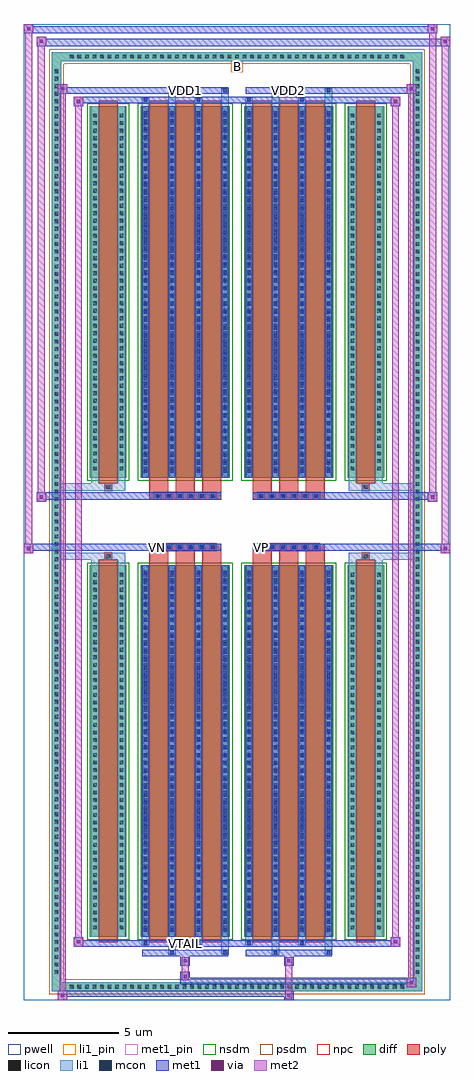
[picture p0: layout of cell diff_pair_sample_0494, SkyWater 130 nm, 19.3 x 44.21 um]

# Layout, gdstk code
import gdstk
lib = gdstk.Library(unit=1e-6, precision=5e-09)
def R(c, l, rs):  # rectangles x0, y0, x1, y1
    for r in rs: c.add(gdstk.rectangle(r[:2], r[2:], *l))
def A(c, l, x, y, w, h, nx, ny, dx, dy):  # array of equal rectangles
    R(c, l, [(x+i*dx, y+j*dy, x+i*dx+w, y+j*dy+h) for i in range(nx) for j in range(ny)])
def P(c, l, *ps):  # polygons
    for p in ps: c.add(gdstk.Polygon(p, *l))
pwell = (64, 44)
diff = (65, 20)
poly = (66, 20)
licon = (66, 44)
li1_pin = (67, 16)
li1 = (67, 20)
mcon = (67, 44)
met1_pin = (68, 16)
met1 = (68, 20)
via = (68, 44)
met2 = (69, 20)
nsdm = (93, 44)
psdm = (94, 20)
npc = (95, 20)

diff_pair_sample_0494 = lib.new_cell('diff_pair_sample_0494')
R(diff_pair_sample_0494, pwell, [(-9.65,-21.67,9.65,22.54), (-6.97,-19.86,-0.01,-0.8), (0.01,-19.86,6.97,-0.8), (-6.97,0.8,-0.01,19.86), (0.01,0.8,6.97,19.86)])
A(diff_pair_sample_0494, diff, -7.685, -21.27, 0.41, 0.41, 45, 2, 0.34, 42.13)
A(diff_pair_sample_0494, diff, -8.38, -20.605, 0.41, 0.41, 1, 121, 0, 0.34)
A(diff_pair_sample_0494, diff, 7.97, -20.605, 0.41, 0.41, 1, 121, 0, 0.34)
R(diff_pair_sample_0494, diff, [(-7.685,-21.27,7.685,-20.86), (-8.38,-20.605,-7.97,20.605), (7.97,-20.605,8.38,20.605), (-6.66,-18.815,-5.01,-1.985), (-4.37,-18.815,-0.32,-1.985), (0.32,-18.815,4.37,-1.985), (5.01,-18.815,6.66,-1.985), (-6.66,1.985,-5.01,18.815), (-4.37,1.985,-0.32,18.815), (0.32,1.985,4.37,18.815), (5.01,1.985,6.66,18.815), (-7.685,20.86,7.685,21.27)])
P(diff_pair_sample_0494, diff, [(8.38,21.27),(-8.38,21.27),(-8.38,-20.86),(-7.97,-20.86),(-7.97,20.86),(7.97,20.86),(7.97,-20.86),(-7.97,-20.86),(-8.38,-20.86),(-8.38,-21.27),(8.38,-21.27)])
A(diff_pair_sample_0494, poly, -3.98, -19.065, 0.87, 17.33, 3, 2, 1.2, 20.8)
A(diff_pair_sample_0494, poly, 0.71, -19.065, 0.87, 17.33, 3, 2, 1.2, 20.8)
A(diff_pair_sample_0494, poly, -3.98, -1.735, 0.87, 0.405, 3, 2, 1.2, 3.065)
A(diff_pair_sample_0494, poly, 0.71, -1.735, 0.87, 0.405, 3, 2, 1.2, 3.065)
A(diff_pair_sample_0494, poly, -3.76, -1.33, 0.33, 0.33, 6, 2, 0.5, 2.33)
A(diff_pair_sample_0494, poly, 0.93, -1.33, 0.33, 0.33, 6, 2, 0.5, 2.33)
R(diff_pair_sample_0494, poly, [(-6.27,-19.065,-5.4,-1.735), (5.4,-19.065,6.27,-1.735), (-6,-1.735,-5.67,-1.405), (-6,-1.735,-5.67,-1.405), (5.67,-1.735,6,-1.405), (5.67,-1.735,6,-1.405), (-3.98,-1.33,-0.71,-1), (0.71,-1.33,3.98,-1), (-3.98,1,-0.71,1.33), (0.71,1,3.98,1.33), (-6,1.405,-5.67,1.735), (-6,1.405,-5.67,1.735), (5.67,1.405,6,1.735), (5.67,1.405,6,1.735), (-6.27,1.735,-5.4,19.065), (5.4,1.735,6.27,19.065)])
A(diff_pair_sample_0494, licon, -7.565, -21.15, 0.17, 0.17, 45, 2, 0.34, 42.13)
A(diff_pair_sample_0494, licon, -8.26, -20.485, 0.17, 0.17, 1, 121, 0, 0.34)
A(diff_pair_sample_0494, licon, 8.09, -20.485, 0.17, 0.17, 1, 121, 0, 0.34)
A(diff_pair_sample_0494, licon, -6.52, -18.475, 0.17, 0.17, 1, 48, 0, 0.34)
A(diff_pair_sample_0494, licon, -5.32, -18.475, 0.17, 0.17, 1, 48, 0, 0.34)
A(diff_pair_sample_0494, licon, -4.23, -18.475, 0.17, 0.17, 4, 48, 1.2, 0.34)
A(diff_pair_sample_0494, licon, 0.46, -18.475, 0.17, 0.17, 4, 48, 1.2, 0.34)
A(diff_pair_sample_0494, licon, 5.15, -18.475, 0.17, 0.17, 1, 48, 0, 0.34)
A(diff_pair_sample_0494, licon, 6.35, -18.475, 0.17, 0.17, 1, 48, 0, 0.34)
A(diff_pair_sample_0494, licon, -3.68, -1.25, 0.17, 0.17, 6, 2, 0.5, 2.33)
A(diff_pair_sample_0494, licon, 1.01, -1.25, 0.17, 0.17, 6, 2, 0.5, 2.33)
A(diff_pair_sample_0494, licon, -6.52, 2.325, 0.17, 0.17, 1, 48, 0, 0.34)
A(diff_pair_sample_0494, licon, -5.32, 2.325, 0.17, 0.17, 1, 48, 0, 0.34)
A(diff_pair_sample_0494, licon, -4.23, 2.325, 0.17, 0.17, 4, 48, 1.2, 0.34)
A(diff_pair_sample_0494, licon, 0.46, 2.325, 0.17, 0.17, 4, 48, 1.2, 0.34)
A(diff_pair_sample_0494, licon, 5.15, 2.325, 0.17, 0.17, 1, 48, 0, 0.34)
A(diff_pair_sample_0494, licon, 6.35, 2.325, 0.17, 0.17, 1, 48, 0, 0.34)
R(diff_pair_sample_0494, licon, [(-5.92,-1.655,-5.75,-1.485), (5.75,-1.655,5.92,-1.485), (-5.92,1.485,-5.75,1.655), (5.75,1.485,5.92,1.655)])
R(diff_pair_sample_0494, li1_pin, [(-0.25,20.36,0.25,20.86)])
A(diff_pair_sample_0494, li1, -7.645, -21.23, 0.33, 0.33, 45, 2, 0.34, 42.13)
A(diff_pair_sample_0494, li1, -8.34, -20.565, 0.33, 0.33, 1, 121, 0, 0.34)
A(diff_pair_sample_0494, li1, 8.01, -20.565, 0.33, 0.33, 1, 121, 0, 0.34)
A(diff_pair_sample_0494, li1, -4.31, -18.815, 0.33, 16.83, 4, 2, 1.2, 20.8)
A(diff_pair_sample_0494, li1, 0.38, -18.815, 0.33, 16.83, 4, 2, 1.2, 20.8)
A(diff_pair_sample_0494, li1, -4.23, -18.585, 0.17, 0.17, 4, 46, 1.2, 0.36)
A(diff_pair_sample_0494, li1, -4.23, -18.585, 0.17, 16.37, 4, 2, 1.2, 20.8)
A(diff_pair_sample_0494, li1, 0.46, -18.585, 0.17, 0.17, 4, 46, 1.2, 0.36)
A(diff_pair_sample_0494, li1, 0.46, -18.585, 0.17, 16.37, 4, 2, 1.2, 20.8)
A(diff_pair_sample_0494, li1, -6.6, -18.555, 0.33, 0.33, 1, 48, 0, 0.34)
A(diff_pair_sample_0494, li1, -5.4, -18.555, 0.33, 0.33, 1, 48, 0, 0.34)
A(diff_pair_sample_0494, li1, -4.31, -18.555, 0.33, 0.33, 4, 48, 1.2, 0.34)
A(diff_pair_sample_0494, li1, 0.38, -18.555, 0.33, 0.33, 4, 48, 1.2, 0.34)
A(diff_pair_sample_0494, li1, 5.07, -18.555, 0.33, 0.33, 1, 48, 0, 0.34)
A(diff_pair_sample_0494, li1, 6.27, -18.555, 0.33, 0.33, 1, 48, 0, 0.34)
A(diff_pair_sample_0494, li1, -3.76, -1.33, 0.33, 0.33, 6, 2, 0.5, 2.33)
A(diff_pair_sample_0494, li1, 0.93, -1.33, 0.33, 0.33, 6, 2, 0.5, 2.33)
A(diff_pair_sample_0494, li1, -4.23, 2.215, 0.17, 0.17, 4, 46, 1.2, 0.36)
A(diff_pair_sample_0494, li1, 0.46, 2.215, 0.17, 0.17, 4, 46, 1.2, 0.36)
A(diff_pair_sample_0494, li1, -6.6, 2.245, 0.33, 0.33, 1, 48, 0, 0.34)
A(diff_pair_sample_0494, li1, -5.4, 2.245, 0.33, 0.33, 1, 48, 0, 0.34)
A(diff_pair_sample_0494, li1, -4.31, 2.245, 0.33, 0.33, 4, 48, 1.2, 0.34)
A(diff_pair_sample_0494, li1, 0.38, 2.245, 0.33, 0.33, 4, 48, 1.2, 0.34)
A(diff_pair_sample_0494, li1, 5.07, 2.245, 0.33, 0.33, 1, 48, 0, 0.34)
A(diff_pair_sample_0494, li1, 6.27, 2.245, 0.33, 0.33, 1, 48, 0, 0.34)
R(diff_pair_sample_0494, li1, [(-8.38,-21.27,-7.97,-20.86), (-8.38,-21.27,-7.97,-20.86), (-7.97,-21.27,7.97,-20.86), (7.97,-21.27,8.38,-20.86), (7.97,-21.27,8.38,-20.86), (-8.38,-20.86,-7.97,20.86), (7.97,-20.86,8.38,20.86), (-3.11,-19.62,-2.78,-18.815), (-3.03,-19.62,-2.86,-19.45), (-0.71,-19.62,-0.38,-18.815), (-0.63,-19.62,-0.46,-19.45), (1.58,-19.62,1.91,-18.815), (1.66,-19.62,1.83,-19.45), (3.98,-19.62,4.31,-18.815), (4.06,-19.62,4.23,-19.45), (-4.31,-19.19,-3.98,-18.815), (-4.23,-19.19,-4.06,-19.02), (-1.91,-19.19,-1.58,-18.815), (-1.83,-19.19,-1.66,-19.02), (0.38,-19.19,0.71,-18.815), (0.46,-19.19,0.63,-19.02), (2.78,-19.19,3.11,-18.815), (2.86,-19.19,3.03,-19.02), (-6.6,-18.815,-6.27,-1.985), (-5.4,-18.815,-5.07,-1.985), (5.07,-18.815,5.4,-1.985), (6.27,-18.815,6.6,-1.985), (-6.6,-1.985,-6.27,-1.405), (-5.4,-1.985,-5.07,-1.405), (5.07,-1.985,5.4,-1.405), (6.27,-1.985,6.6,-1.405), (-8.38,-1.735,-6,-1.405), (-6.6,-1.735,-6,-1.405), (-6,-1.735,-5.67,-1.405), (-5.67,-1.735,-5.07,-1.405), (5.07,-1.735,5.67,-1.405), (5.67,-1.735,6,-1.405), (5.67,-1.735,8.38,-1.405), (6,-1.735,6.6,-1.405), (-8.38,1.405,-6,1.735), (-6.6,1.405,-6,1.735), (-6.6,1.405,-6.27,1.985), (-6,1.405,-5.67,1.735), (-5.67,1.405,-5.07,1.735), (-5.4,1.405,-5.07,1.985), (5.07,1.405,5.67,1.735), (5.07,1.405,5.4,1.985), (5.67,1.405,6,1.735), (5.67,1.405,8.38,1.735), (6,1.405,6.6,1.735), (6.27,1.405,6.6,1.985), (-6.6,1.985,-6.27,18.815), (-5.4,1.985,-5.07,18.815), (5.07,1.985,5.4,18.815), (6.27,1.985,6.6,18.815), (-4.31,18.815,-3.98,19.19), (-3.11,18.815,-2.78,19.62), (-1.91,18.815,-1.58,19.19), (-0.71,18.815,-0.38,19.62), (0.38,18.815,0.71,19.19), (1.58,18.815,1.91,19.62), (2.78,18.815,3.11,19.19), (3.98,18.815,4.31,19.62), (-4.23,19.02,-4.06,19.19), (-1.83,19.02,-1.66,19.19), (0.46,19.02,0.63,19.19), (2.86,19.02,3.03,19.19), (-3.03,19.45,-2.86,19.62), (-0.63,19.45,-0.46,19.62), (1.66,19.45,1.83,19.62), (4.06,19.45,4.23,19.62), (-8.38,20.86,-7.97,21.27), (-8.38,20.86,-7.97,21.27), (-7.97,20.86,7.97,21.27), (7.97,20.86,8.38,21.27), (7.97,20.86,8.38,21.27)])
A(diff_pair_sample_0494, mcon, -4.23, -18.585, 0.17, 0.17, 4, 46, 1.2, 0.36)
A(diff_pair_sample_0494, mcon, 0.46, -18.585, 0.17, 0.17, 4, 46, 1.2, 0.36)
A(diff_pair_sample_0494, mcon, -3.68, -1.25, 0.17, 0.17, 6, 2, 0.5, 2.33)
A(diff_pair_sample_0494, mcon, 1.01, -1.25, 0.17, 0.17, 6, 2, 0.5, 2.33)
A(diff_pair_sample_0494, mcon, -4.23, 2.215, 0.17, 0.17, 4, 46, 1.2, 0.36)
A(diff_pair_sample_0494, mcon, 0.46, 2.215, 0.17, 0.17, 4, 46, 1.2, 0.36)
R(diff_pair_sample_0494, mcon, [(-3.03,-19.62,-2.86,-19.45), (-0.63,-19.62,-0.46,-19.45), (1.66,-19.62,1.83,-19.45), (4.06,-19.62,4.23,-19.45), (-4.23,-19.19,-4.06,-19.02), (-1.83,-19.19,-1.66,-19.02), (0.46,-19.19,0.63,-19.02), (2.86,-19.19,3.03,-19.02), (-4.23,19.02,-4.06,19.19), (-1.83,19.02,-1.66,19.19), (0.46,19.02,0.63,19.19), (2.86,19.02,3.03,19.19), (-3.03,19.45,-2.86,19.62), (-0.63,19.45,-0.46,19.62), (1.66,19.45,1.83,19.62), (4.06,19.45,4.23,19.62)])
R(diff_pair_sample_0494, met1_pin, [(-2.48,-19.23,-2.21,-18.96), (-3.73,-1.29,-3.46,-1.02), (0.96,-1.29,1.23,-1.02), (-2.48,19.41,-2.21,19.68), (2.21,19.41,2.48,19.68)])
A(diff_pair_sample_0494, met1, -4.29, -18.815, 0.29, 16.83, 4, 2, 1.2, 20.8)
A(diff_pair_sample_0494, met1, 0.4, -18.815, 0.29, 16.83, 4, 2, 1.2, 20.8)
A(diff_pair_sample_0494, met1, -4.29, -18.645, 0.29, 0.29, 4, 46, 1.2, 0.36)
A(diff_pair_sample_0494, met1, 0.4, -18.645, 0.29, 0.29, 4, 46, 1.2, 0.36)
A(diff_pair_sample_0494, met1, -3.74, -1.31, 0.29, 0.29, 6, 2, 0.5, 2.33)
A(diff_pair_sample_0494, met1, 0.95, -1.31, 0.29, 0.29, 6, 2, 0.5, 2.33)
A(diff_pair_sample_0494, met1, -4.29, 2.155, 0.29, 0.29, 4, 46, 1.2, 0.36)
A(diff_pair_sample_0494, met1, 0.4, 2.155, 0.29, 0.29, 4, 46, 1.2, 0.36)
R(diff_pair_sample_0494, met1, [(-8.11,-21.67,-7.68,-21.24), (2.13,-21.67,2.56,-21.24), (-8.11,-21.53,2.56,-21.24), (7.68,-21.1,8.11,-20.67), (-2.56,-20.96,8.11,-20.67), (-2.56,-20.82,-2.13,-20.39), (-2.56,-20.11,-2.13,-19.68), (2.13,-20.11,2.56,-19.68), (-4.29,-19.68,-0.4,-19.39), (-3.09,-19.68,-2.8,-19.39), (-0.69,-19.68,-0.4,-19.39), (0.4,-19.68,4.29,-19.39), (1.6,-19.68,1.89,-19.39), (4,-19.68,4.29,-19.39), (-7.4,-19.25,-6.97,-18.82), (-7.4,-19.25,-4.29,-18.96), (-4.29,-19.25,-4,-18.96), (-4.29,-19.25,-0.4,-18.96), (-1.89,-19.25,-1.6,-18.96), (-0.4,-19.25,0.4,-18.96), (0.4,-19.25,0.69,-18.96), (0.4,-19.25,4.29,-18.96), (2.8,-19.25,3.09,-18.96), (4.29,-19.25,7.4,-18.96), (6.97,-19.25,7.4,-18.82), (-9.65,-1.43,-9.22,-1), (9.22,-1.43,9.65,-1), (-9.65,-1.33,-0.71,-1), (-3.98,-1.33,-0.71,-1), (0.71,-1.33,3.98,-1), (0.71,-1.33,9.65,-1), (-9.08,0.9,-8.65,1.33), (8.65,0.9,9.08,1.33), (-9.08,1,-3.98,1.33), (-3.98,1,-0.71,1.33), (0.71,1,3.98,1.33), (3.98,1,9.08,1.33), (-7.4,18.82,-6.97,19.25), (6.97,18.82,7.4,19.25), (-7.4,18.96,-4.29,19.25), (-4.29,18.96,-4,19.25), (-4.29,18.96,-0.4,19.25), (-1.89,18.96,-1.6,19.25), (-0.4,18.96,0.4,19.25), (0.4,18.96,0.69,19.25), (0.4,18.96,4.29,19.25), (2.8,18.96,3.09,19.25), (4.29,18.96,7.4,19.25), (-8.11,19.39,-7.68,19.82), (-8.11,19.39,-4.29,19.68), (-4.29,19.39,-0.4,19.68), (-3.09,19.39,-2.8,19.68), (-0.69,19.39,-0.4,19.68), (0.4,19.39,4.29,19.68), (1.6,19.39,1.89,19.68), (4,19.39,4.29,19.68), (4.29,19.39,8.11,19.68), (7.68,19.39,8.11,19.82), (-9.08,21.54,-8.65,21.97), (-9.08,21.54,-6.97,21.87), (-6.97,21.54,6.97,21.87), (6.97,21.54,9.65,21.87), (9.22,21.54,9.65,21.97), (-9.65,22.11,-9.22,22.54), (-9.65,22.11,-6.97,22.44), (-6.97,22.11,6.97,22.44), (6.97,22.11,9.08,22.44), (8.65,22.11,9.08,22.54)])
R(diff_pair_sample_0494, via, [(-7.97,-21.53,-7.82,-21.38), (2.27,-21.53,2.42,-21.38), (7.82,-20.96,7.97,-20.81), (-2.42,-20.68,-2.27,-20.53), (-2.42,-19.97,-2.27,-19.82), (2.27,-19.97,2.42,-19.82), (-7.26,-19.11,-7.11,-18.96), (7.11,-19.11,7.26,-18.96), (-9.51,-1.29,-9.36,-1.14), (9.36,-1.29,9.51,-1.14), (-8.94,1.04,-8.79,1.19), (8.79,1.04,8.94,1.19), (-7.26,18.96,-7.11,19.11), (7.11,18.96,7.26,19.11), (-7.97,19.53,-7.82,19.68), (7.82,19.53,7.97,19.68), (-8.94,21.68,-8.79,21.83), (9.36,21.68,9.51,21.83), (-9.51,22.25,-9.36,22.4), (8.79,22.25,8.94,22.4)])
R(diff_pair_sample_0494, met2, [(-8.11,-21.67,-7.68,-21.24), (-8.04,-21.67,-7.75,19.82), (-7.75,-21.67,-7.68,-21.24), (-8.06,-21.62,-7.73,-21.29), (2.18,-21.62,2.51,-21.29), (2.18,-21.29,2.51,-20.06), (7.68,-21.1,8.11,-20.67), (7.75,-21.1,8.04,19.82), (8.04,-21.1,8.11,-20.67), (7.73,-21.05,8.06,-20.72), (-2.51,-20.77,-2.18,-20.44), (-2.51,-20.44,-2.18,-20.06), (-2.51,-20.06,-2.18,-19.73), (2.18,-20.06,2.51,-19.73), (-7.4,-19.25,-6.97,-18.82), (-7.33,-19.25,-7.04,19.25), (-7.04,-19.25,-6.97,-18.82), (6.97,-19.25,7.4,-18.82), (7.04,-19.25,7.33,19.25), (7.33,-19.25,7.4,-18.82), (-7.35,-19.2,-7.02,-18.87), (7.02,-19.2,7.35,-18.87), (-9.65,-1.43,-9.22,-1), (-9.6,-1.43,-9.27,22.54), (-9.27,-1.43,-9.22,-1), (9.22,-1.43,9.65,-1), (9.27,-1.43,9.6,21.97), (9.6,-1.43,9.65,-1), (-9.6,-1.38,-9.27,-1.05), (9.27,-1.38,9.6,-1.05), (-9.08,0.9,-8.65,1.33), (-9.03,0.9,-8.7,21.97), (-8.7,0.9,-8.65,1.33), (8.65,0.9,9.08,1.33), (8.7,0.9,9.03,22.54), (9.03,0.9,9.08,1.33), (-9.03,0.95,-8.7,1.28), (8.7,0.95,9.03,1.28), (-7.4,18.82,-6.97,19.25), (-7.04,18.82,-6.97,19.25), (6.97,18.82,7.4,19.25), (7.33,18.82,7.4,19.25), (-7.35,18.87,-7.02,19.2), (7.02,18.87,7.35,19.2), (-8.11,19.39,-7.68,19.82), (-7.75,19.39,-7.68,19.82), (7.68,19.39,8.11,19.82), (8.04,19.39,8.11,19.82), (-8.06,19.44,-7.73,19.77), (7.73,19.44,8.06,19.77), (-9.08,21.54,-8.65,21.97), (-8.7,21.54,-8.65,21.97), (9.22,21.54,9.65,21.97), (9.6,21.54,9.65,21.97), (-9.03,21.59,-8.7,21.92), (9.27,21.59,9.6,21.92), (-9.65,22.11,-9.22,22.54), (-9.27,22.11,-9.22,22.54), (8.65,22.11,9.08,22.54), (9.03,22.11,9.08,22.54), (-9.6,22.16,-9.27,22.49), (8.7,22.16,9.03,22.49)])
R(diff_pair_sample_0494, nsdm, [(-6.79,-18.945,-4.88,-1.855), (-4.5,-18.945,-0.19,-1.855), (0.19,-18.945,4.5,-1.855), (4.88,-18.945,6.79,-1.855), (-6.79,1.855,-4.88,18.945), (-4.5,1.855,-0.19,18.945), (0.19,1.855,4.5,18.945), (4.88,1.855,6.79,18.945)])
P(diff_pair_sample_0494, psdm, [(8.51,21.4),(-8.51,21.4),(-8.51,-20.73),(-7.84,-20.73),(-7.84,20.73),(7.84,20.73),(7.84,-20.73),(-7.84,-20.73),(-8.51,-20.73),(-8.51,-21.4),(8.51,-21.4)])
A(diff_pair_sample_0494, npc, -3.78, -1.35, 0.37, 0.37, 6, 2, 0.5, 2.33)
A(diff_pair_sample_0494, npc, 0.91, -1.35, 0.37, 0.37, 6, 2, 0.5, 2.33)
R(diff_pair_sample_0494, npc, [(-6.02,-1.755,-5.65,-1.385), (5.65,-1.755,6.02,-1.385), (-3.78,-1.35,-2.91,-0.98), (-3.78,-1.35,-2.91,-0.98), (-3.28,-1.35,-2.41,-0.98), (-3.28,-1.35,-2.41,-0.98), (-2.78,-1.35,-1.91,-0.98), (-2.78,-1.35,-1.91,-0.98), (-2.28,-1.35,-1.41,-0.98), (-2.28,-1.35,-1.41,-0.98), (-1.78,-1.35,-0.91,-0.98), (-1.78,-1.35,-0.91,-0.98), (0.91,-1.35,1.78,-0.98), (0.91,-1.35,1.78,-0.98), (1.41,-1.35,2.28,-0.98), (1.41,-1.35,2.28,-0.98), (1.91,-1.35,2.78,-0.98), (1.91,-1.35,2.78,-0.98), (2.41,-1.35,3.28,-0.98), (2.41,-1.35,3.28,-0.98), (2.91,-1.35,3.78,-0.98), (2.91,-1.35,3.78,-0.98), (-3.78,0.98,-2.91,1.35), (-3.78,0.98,-2.91,1.35), (-3.28,0.98,-2.41,1.35), (-3.28,0.98,-2.41,1.35), (-2.78,0.98,-1.91,1.35), (-2.78,0.98,-1.91,1.35), (-2.28,0.98,-1.41,1.35), (-2.28,0.98,-1.41,1.35), (-1.78,0.98,-0.91,1.35), (-1.78,0.98,-0.91,1.35), (0.91,0.98,1.78,1.35), (0.91,0.98,1.78,1.35), (1.41,0.98,2.28,1.35), (1.41,0.98,2.28,1.35), (1.91,0.98,2.78,1.35), (1.91,0.98,2.78,1.35), (2.41,0.98,3.28,1.35), (2.41,0.98,3.28,1.35), (2.91,0.98,3.78,1.35), (2.91,0.98,3.78,1.35), (-6.02,1.385,-5.65,1.755), (5.65,1.385,6.02,1.755)])
diff_pair_sample_0494.add(gdstk.Label('VTAIL', (-2.345,-19.095), layer=68, texttype=5))
diff_pair_sample_0494.add(gdstk.Label('VN', (-3.595,-1.155), layer=68, texttype=5))
diff_pair_sample_0494.add(gdstk.Label('VP', (1.095,-1.155), layer=68, texttype=5))
diff_pair_sample_0494.add(gdstk.Label('B', (0,20.61), layer=67, texttype=5))
diff_pair_sample_0494.add(gdstk.Label('VDD2', (2.345,19.545), layer=68, texttype=5))
diff_pair_sample_0494.add(gdstk.Label('VDD1', (-2.345,19.545), layer=68, texttype=5))

lib.write_gds('diff_pair_sample_0494.gds')
